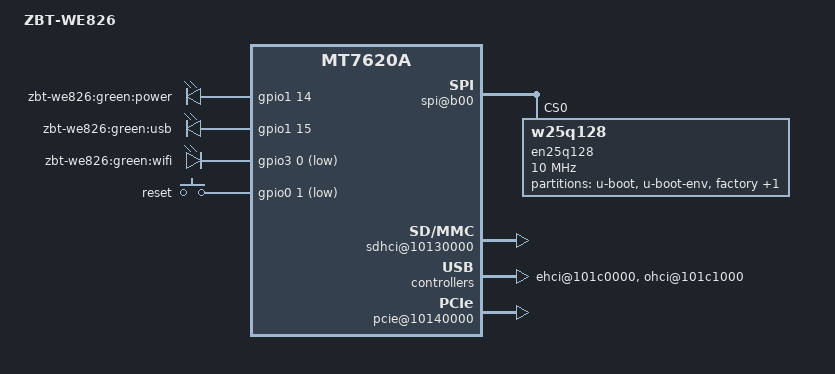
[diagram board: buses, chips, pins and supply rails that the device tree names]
/dts-v1/;

/include/ "mt7620a.dtsi"

/ {
       compatible = "zbtlink,zbt-we826", "ralink,mt7620a-soc";
       model = "ZBT-WE826";

       chosen {
               bootargs = "console=ttyS0,115200";
       };

       palmbus@10000000 {
               gpio0: gpio@600 {
                       status = "okay";
               };

               gpio1: gpio@638 {
                       status = "okay";
               };

               gpio3: gpio@688 {
                       status = "okay";
               };

               spi@b00 {
                       status = "okay";

                       en25q128@0 {
                               #address-cells = <1>;
                               #size-cells = <1>;
                               compatible = "w25q128";
                               reg = <0 0>;
                               linux,modalias = "m25p80";
                               spi-max-frequency = <10000000>;

                               partition@0 {
                                       label = "u-boot";
                                       reg = <0x0 0x30000>;
                                       read-only;
                               };

                               partition@30000 {
                                       label = "u-boot-env";
                                       reg = <0x30000 0x10000>;
                                       read-only;
                               };

                               factory: partition@40000 {
                                       label = "factory";
                                       reg = <0x40000 0x10000>;
                                       read-only;
                               };

                               partition@50000 {
                                       label = "firmware";
                                       reg = <0x50000 0xfb0000>;
                               };
                       };
               };
       };

       sdhci@10130000 {
               status = "okay";
       };

       ehci@101c0000 {
               status = "okay";
       };

       ohci@101c1000 {
               status = "okay";
       };

       ethernet@10100000 {
               mtd-mac-address = <&factory 0x4>;
               ralink,port-map = "wllll";
       };

       wmac@10180000 {
               ralink,mtd-eeprom = <&factory 0>;
       };

       pinctrl {
               state_default: pinctrl0 {
                       default {
                               ralink,group = "i2c", "uartf", "wled", "spi refclk", "pa";
                               ralink,function = "gpio";
                       };
               };
       };

       gpio-leds {
               compatible = "gpio-leds";
               power {
                       label = "zbt-we826:green:power";
                       gpios = <&gpio1 14 0>;
               };
               usb {
                       label = "zbt-we826:green:usb";
                       gpios = <&gpio1 15 0>;
               };
               air {
                       label = "zbt-we826:green:wifi";
                       gpios = <&gpio3 0 1>;
               };
       };

       gpio-keys-polled {
               compatible = "gpio-keys-polled";
               #address-cells = <1>;
               #size-cells = <0>;
               poll-interval = <20>;
               reset {
                       label = "reset";
                       gpios = <&gpio0 1 1>;
                       linux,code = <0x198>;
               };
       };

       pcie@10140000 {
               status = "okay";
       };
};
